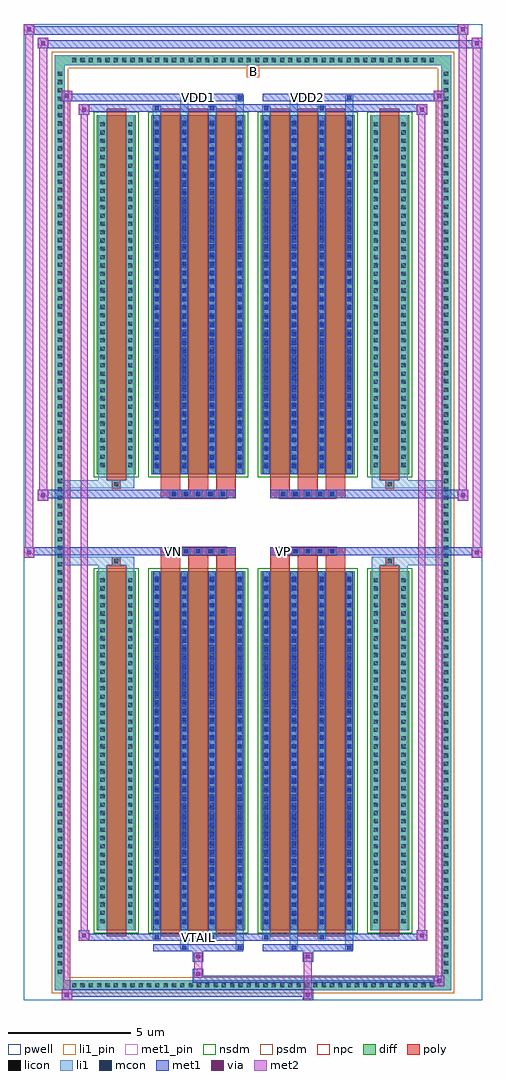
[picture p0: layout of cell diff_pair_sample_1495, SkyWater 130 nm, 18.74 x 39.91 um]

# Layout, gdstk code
import gdstk
lib = gdstk.Library(unit=1e-6, precision=5e-09)
def R(c, l, rs):  # rectangles x0, y0, x1, y1
    for r in rs: c.add(gdstk.rectangle(r[:2], r[2:], *l))
def A(c, l, x, y, w, h, nx, ny, dx, dy):  # array of equal rectangles
    R(c, l, [(x+i*dx, y+j*dy, x+i*dx+w, y+j*dy+h) for i in range(nx) for j in range(ny)])
def P(c, l, *ps):  # polygons
    for p in ps: c.add(gdstk.Polygon(p, *l))
pwell = (64, 44)
diff = (65, 20)
poly = (66, 20)
licon = (66, 44)
li1_pin = (67, 16)
li1 = (67, 20)
mcon = (67, 44)
met1_pin = (68, 16)
met1 = (68, 20)
via = (68, 44)
met2 = (69, 20)
nsdm = (93, 44)
psdm = (94, 20)
npc = (95, 20)

diff_pair_sample_1495 = lib.new_cell('diff_pair_sample_1495')
R(diff_pair_sample_1495, pwell, [(-9.37,-19.52,9.37,20.39), (-6.69,-17.71,-0.01,-0.805), (0.01,-17.71,6.69,-0.805), (-6.69,0.805,-0.01,17.71), (0.01,0.805,6.69,17.71)])
A(diff_pair_sample_1495, diff, -7.515, -19.12, 0.41, 0.41, 44, 2, 0.34, 37.83)
A(diff_pair_sample_1495, diff, -8.1, -18.565, 0.41, 0.41, 1, 109, 0, 0.34)
A(diff_pair_sample_1495, diff, 7.69, -18.565, 0.41, 0.41, 1, 109, 0, 0.34)
R(diff_pair_sample_1495, diff, [(-7.515,-19.12,7.515,-18.71), (-8.1,-18.565,-7.69,18.565), (7.69,-18.565,8.1,18.565), (-6.38,-16.665,-4.8,-1.985), (-4.16,-16.665,-0.32,-1.985), (0.32,-16.665,4.16,-1.985), (4.8,-16.665,6.38,-1.985), (-6.38,1.985,-4.8,16.665), (-4.16,1.985,-0.32,16.665), (0.32,1.985,4.16,16.665), (4.8,1.985,6.38,16.665), (-7.515,18.71,7.515,19.12)])
P(diff_pair_sample_1495, diff, [(8.1,19.12),(-8.1,19.12),(-8.1,-18.71),(-7.69,-18.71),(-7.69,18.71),(7.69,18.71),(7.69,-18.71),(-7.69,-18.71),(-8.1,-18.71),(-8.1,-19.12),(8.1,-19.12)])
A(diff_pair_sample_1495, poly, -3.77, -16.915, 0.8, 15.18, 3, 2, 1.13, 18.65)
A(diff_pair_sample_1495, poly, 0.71, -16.915, 0.8, 15.18, 3, 2, 1.13, 18.65)
A(diff_pair_sample_1495, poly, -3.77, -1.735, 0.8, 0.4, 3, 2, 1.13, 3.07)
A(diff_pair_sample_1495, poly, 0.71, -1.735, 0.8, 0.4, 3, 2, 1.13, 3.07)
A(diff_pair_sample_1495, poly, -3.405, -1.335, 0.33, 0.33, 5, 2, 0.5, 2.34)
A(diff_pair_sample_1495, poly, 1.075, -1.335, 0.33, 0.33, 5, 2, 0.5, 2.34)
R(diff_pair_sample_1495, poly, [(-5.99,-16.915,-5.19,-1.735), (5.19,-16.915,5.99,-1.735), (-5.755,-1.735,-5.425,-1.405), (-5.755,-1.735,-5.425,-1.405), (5.425,-1.735,5.755,-1.405), (5.425,-1.735,5.755,-1.405), (-3.77,-1.335,-0.71,-1.005), (0.71,-1.335,3.77,-1.005), (-3.77,1.005,-0.71,1.335), (0.71,1.005,3.77,1.335), (-5.755,1.405,-5.425,1.735), (-5.755,1.405,-5.425,1.735), (5.425,1.405,5.755,1.735), (5.425,1.405,5.755,1.735), (-5.99,1.735,-5.19,16.915), (5.19,1.735,5.99,16.915)])
A(diff_pair_sample_1495, licon, -7.395, -19, 0.17, 0.17, 44, 2, 0.34, 37.83)
A(diff_pair_sample_1495, licon, -7.98, -18.445, 0.17, 0.17, 1, 109, 0, 0.34)
A(diff_pair_sample_1495, licon, 7.81, -18.445, 0.17, 0.17, 1, 109, 0, 0.34)
A(diff_pair_sample_1495, licon, -6.24, -16.38, 0.17, 0.17, 1, 42, 0, 0.34)
A(diff_pair_sample_1495, licon, -5.11, -16.38, 0.17, 0.17, 1, 42, 0, 0.34)
A(diff_pair_sample_1495, licon, -4.02, -16.38, 0.17, 0.17, 4, 42, 1.13, 0.34)
A(diff_pair_sample_1495, licon, 0.46, -16.38, 0.17, 0.17, 4, 42, 1.13, 0.34)
A(diff_pair_sample_1495, licon, 4.94, -16.38, 0.17, 0.17, 1, 42, 0, 0.34)
A(diff_pair_sample_1495, licon, 6.07, -16.38, 0.17, 0.17, 1, 42, 0, 0.34)
A(diff_pair_sample_1495, licon, -3.325, -1.255, 0.17, 0.17, 5, 2, 0.5, 2.34)
A(diff_pair_sample_1495, licon, 1.155, -1.255, 0.17, 0.17, 5, 2, 0.5, 2.34)
A(diff_pair_sample_1495, licon, -6.24, 2.27, 0.17, 0.17, 1, 42, 0, 0.34)
A(diff_pair_sample_1495, licon, -5.11, 2.27, 0.17, 0.17, 1, 42, 0, 0.34)
A(diff_pair_sample_1495, licon, -4.02, 2.27, 0.17, 0.17, 4, 42, 1.13, 0.34)
A(diff_pair_sample_1495, licon, 0.46, 2.27, 0.17, 0.17, 4, 42, 1.13, 0.34)
A(diff_pair_sample_1495, licon, 4.94, 2.27, 0.17, 0.17, 1, 42, 0, 0.34)
A(diff_pair_sample_1495, licon, 6.07, 2.27, 0.17, 0.17, 1, 42, 0, 0.34)
R(diff_pair_sample_1495, licon, [(-5.675,-1.655,-5.505,-1.485), (5.505,-1.655,5.675,-1.485), (-5.675,1.485,-5.505,1.655), (5.505,1.485,5.675,1.655)])
R(diff_pair_sample_1495, li1_pin, [(-0.25,18.21,0.25,18.71)])
A(diff_pair_sample_1495, li1, -7.475, -19.08, 0.33, 0.33, 44, 2, 0.34, 37.83)
A(diff_pair_sample_1495, li1, -8.06, -18.525, 0.33, 0.33, 1, 109, 0, 0.34)
A(diff_pair_sample_1495, li1, 7.73, -18.525, 0.33, 0.33, 1, 109, 0, 0.34)
A(diff_pair_sample_1495, li1, -4.1, -16.665, 0.33, 14.68, 4, 2, 1.13, 18.65)
A(diff_pair_sample_1495, li1, 0.38, -16.665, 0.33, 14.68, 4, 2, 1.13, 18.65)
A(diff_pair_sample_1495, li1, -6.32, -16.46, 0.33, 0.33, 1, 42, 0, 0.34)
A(diff_pair_sample_1495, li1, -5.19, -16.46, 0.33, 0.33, 1, 42, 0, 0.34)
A(diff_pair_sample_1495, li1, -4.1, -16.46, 0.33, 0.33, 4, 42, 1.13, 0.34)
A(diff_pair_sample_1495, li1, 0.38, -16.46, 0.33, 0.33, 4, 42, 1.13, 0.34)
A(diff_pair_sample_1495, li1, 4.86, -16.46, 0.33, 0.33, 1, 42, 0, 0.34)
A(diff_pair_sample_1495, li1, 5.99, -16.46, 0.33, 0.33, 1, 42, 0, 0.34)
A(diff_pair_sample_1495, li1, -4.02, -16.43, 0.17, 0.17, 4, 40, 1.13, 0.36)
A(diff_pair_sample_1495, li1, -4.02, -16.43, 0.17, 14.21, 4, 2, 1.13, 18.65)
A(diff_pair_sample_1495, li1, 0.46, -16.43, 0.17, 0.17, 4, 40, 1.13, 0.36)
A(diff_pair_sample_1495, li1, 0.46, -16.43, 0.17, 14.21, 4, 2, 1.13, 18.65)
A(diff_pair_sample_1495, li1, -3.405, -1.335, 0.33, 0.33, 5, 2, 0.5, 2.34)
A(diff_pair_sample_1495, li1, 1.075, -1.335, 0.33, 0.33, 5, 2, 0.5, 2.34)
A(diff_pair_sample_1495, li1, -6.32, 2.19, 0.33, 0.33, 1, 42, 0, 0.34)
A(diff_pair_sample_1495, li1, -5.19, 2.19, 0.33, 0.33, 1, 42, 0, 0.34)
A(diff_pair_sample_1495, li1, -4.1, 2.19, 0.33, 0.33, 4, 42, 1.13, 0.34)
A(diff_pair_sample_1495, li1, 0.38, 2.19, 0.33, 0.33, 4, 42, 1.13, 0.34)
A(diff_pair_sample_1495, li1, 4.86, 2.19, 0.33, 0.33, 1, 42, 0, 0.34)
A(diff_pair_sample_1495, li1, 5.99, 2.19, 0.33, 0.33, 1, 42, 0, 0.34)
A(diff_pair_sample_1495, li1, -4.02, 2.22, 0.17, 0.17, 4, 40, 1.13, 0.36)
A(diff_pair_sample_1495, li1, 0.46, 2.22, 0.17, 0.17, 4, 40, 1.13, 0.36)
R(diff_pair_sample_1495, li1, [(-8.1,-19.12,-7.69,-18.71), (-8.1,-19.12,-7.69,-18.71), (-7.69,-19.12,7.69,-18.71), (7.69,-19.12,8.1,-18.71), (7.69,-19.12,8.1,-18.71), (-8.1,-18.71,-7.69,18.71), (7.69,-18.71,8.1,18.71), (-2.97,-17.47,-2.64,-16.665), (-2.89,-17.47,-2.72,-17.3), (-0.71,-17.47,-0.38,-16.665), (-0.63,-17.47,-0.46,-17.3), (1.51,-17.47,1.84,-16.665), (1.59,-17.47,1.76,-17.3), (3.77,-17.47,4.1,-16.665), (3.85,-17.47,4.02,-17.3), (-4.1,-17.04,-3.77,-16.665), (-4.02,-17.04,-3.85,-16.87), (-1.84,-17.04,-1.51,-16.665), (-1.76,-17.04,-1.59,-16.87), (0.38,-17.04,0.71,-16.665), (0.46,-17.04,0.63,-16.87), (2.64,-17.04,2.97,-16.665), (2.72,-17.04,2.89,-16.87), (-6.32,-16.665,-5.99,-1.985), (-5.19,-16.665,-4.86,-1.985), (4.86,-16.665,5.19,-1.985), (5.99,-16.665,6.32,-1.985), (-6.32,-1.985,-5.99,-1.405), (-5.19,-1.985,-4.86,-1.405), (4.86,-1.985,5.19,-1.405), (5.99,-1.985,6.32,-1.405), (-8.1,-1.735,-5.755,-1.405), (-6.32,-1.735,-5.755,-1.405), (-5.755,-1.735,-5.425,-1.405), (-5.425,-1.735,-4.86,-1.405), (4.86,-1.735,5.425,-1.405), (5.425,-1.735,5.755,-1.405), (5.425,-1.735,8.1,-1.405), (5.755,-1.735,6.32,-1.405), (-8.1,1.405,-5.755,1.735), (-6.32,1.405,-5.755,1.735), (-6.32,1.405,-5.99,1.985), (-5.755,1.405,-5.425,1.735), (-5.425,1.405,-4.86,1.735), (-5.19,1.405,-4.86,1.985), (4.86,1.405,5.425,1.735), (4.86,1.405,5.19,1.985), (5.425,1.405,5.755,1.735), (5.425,1.405,8.1,1.735), (5.755,1.405,6.32,1.735), (5.99,1.405,6.32,1.985), (-6.32,1.985,-5.99,16.665), (-5.19,1.985,-4.86,16.665), (4.86,1.985,5.19,16.665), (5.99,1.985,6.32,16.665), (-4.1,16.665,-3.77,17.04), (-2.97,16.665,-2.64,17.47), (-1.84,16.665,-1.51,17.04), (-0.71,16.665,-0.38,17.47), (0.38,16.665,0.71,17.04), (1.51,16.665,1.84,17.47), (2.64,16.665,2.97,17.04), (3.77,16.665,4.1,17.47), (-4.02,16.87,-3.85,17.04), (-1.76,16.87,-1.59,17.04), (0.46,16.87,0.63,17.04), (2.72,16.87,2.89,17.04), (-2.89,17.3,-2.72,17.47), (-0.63,17.3,-0.46,17.47), (1.59,17.3,1.76,17.47), (3.85,17.3,4.02,17.47), (-8.1,18.71,-7.69,19.12), (-8.1,18.71,-7.69,19.12), (-7.69,18.71,7.69,19.12), (7.69,18.71,8.1,19.12), (7.69,18.71,8.1,19.12)])
A(diff_pair_sample_1495, mcon, -4.02, -16.43, 0.17, 0.17, 4, 40, 1.13, 0.36)
A(diff_pair_sample_1495, mcon, 0.46, -16.43, 0.17, 0.17, 4, 40, 1.13, 0.36)
A(diff_pair_sample_1495, mcon, -3.325, -1.255, 0.17, 0.17, 5, 2, 0.5, 2.34)
A(diff_pair_sample_1495, mcon, 1.155, -1.255, 0.17, 0.17, 5, 2, 0.5, 2.34)
A(diff_pair_sample_1495, mcon, -4.02, 2.22, 0.17, 0.17, 4, 40, 1.13, 0.36)
A(diff_pair_sample_1495, mcon, 0.46, 2.22, 0.17, 0.17, 4, 40, 1.13, 0.36)
R(diff_pair_sample_1495, mcon, [(-2.89,-17.47,-2.72,-17.3), (-0.63,-17.47,-0.46,-17.3), (1.59,-17.47,1.76,-17.3), (3.85,-17.47,4.02,-17.3), (-4.02,-17.04,-3.85,-16.87), (-1.76,-17.04,-1.59,-16.87), (0.46,-17.04,0.63,-16.87), (2.72,-17.04,2.89,-16.87), (-4.02,16.87,-3.85,17.04), (-1.76,16.87,-1.59,17.04), (0.46,16.87,0.63,17.04), (2.72,16.87,2.89,17.04), (-2.89,17.3,-2.72,17.47), (-0.63,17.3,-0.46,17.47), (1.59,17.3,1.76,17.47), (3.85,17.3,4.02,17.47)])
R(diff_pair_sample_1495, met1_pin, [(-2.375,-17.08,-2.105,-16.81), (-3.375,-1.295,-3.105,-1.025), (1.105,-1.295,1.375,-1.025), (-2.375,17.26,-2.105,17.53), (2.105,17.26,2.375,17.53)])
A(diff_pair_sample_1495, met1, -4.08, -16.665, 0.29, 14.68, 4, 2, 1.13, 18.65)
A(diff_pair_sample_1495, met1, 0.4, -16.665, 0.29, 14.68, 4, 2, 1.13, 18.65)
A(diff_pair_sample_1495, met1, -4.08, -16.49, 0.29, 0.29, 4, 40, 1.13, 0.36)
A(diff_pair_sample_1495, met1, 0.4, -16.49, 0.29, 0.29, 4, 40, 1.13, 0.36)
A(diff_pair_sample_1495, met1, -3.385, -1.315, 0.29, 0.29, 5, 2, 0.5, 2.34)
A(diff_pair_sample_1495, met1, 1.095, -1.315, 0.29, 0.29, 5, 2, 0.5, 2.34)
A(diff_pair_sample_1495, met1, -4.08, 2.16, 0.29, 0.29, 4, 40, 1.13, 0.36)
A(diff_pair_sample_1495, met1, 0.4, 2.16, 0.29, 0.29, 4, 40, 1.13, 0.36)
R(diff_pair_sample_1495, met1, [(-7.83,-19.52,-7.4,-19.09), (2.025,-19.52,2.455,-19.09), (-7.83,-19.38,2.455,-19.09), (7.4,-18.95,7.83,-18.52), (-2.455,-18.81,7.83,-18.52), (-2.455,-18.67,-2.025,-18.24), (-2.455,-17.96,-2.025,-17.53), (2.025,-17.96,2.455,-17.53), (-4.08,-17.53,-0.4,-17.24), (-2.95,-17.53,-2.66,-17.24), (-0.69,-17.53,-0.4,-17.24), (0.4,-17.53,4.08,-17.24), (1.53,-17.53,1.82,-17.24), (3.79,-17.53,4.08,-17.24), (-7.12,-17.1,-6.69,-16.67), (-7.12,-17.1,-4.08,-16.81), (-4.08,-17.1,-3.79,-16.81), (-4.08,-17.1,-0.4,-16.81), (-1.82,-17.1,-1.53,-16.81), (-0.4,-17.1,0.4,-16.81), (0.4,-17.1,0.69,-16.81), (0.4,-17.1,4.08,-16.81), (2.66,-17.1,2.95,-16.81), (4.08,-17.1,7.12,-16.81), (6.69,-17.1,7.12,-16.67), (-9.37,-1.435,-8.94,-1.005), (8.94,-1.435,9.37,-1.005), (-9.37,-1.335,-0.71,-1.005), (-3.77,-1.335,-0.71,-1.005), (0.71,-1.335,3.77,-1.005), (0.71,-1.335,9.37,-1.005), (-8.8,0.905,-8.37,1.335), (8.37,0.905,8.8,1.335), (-8.8,1.005,-3.77,1.335), (-3.77,1.005,-0.71,1.335), (0.71,1.005,3.77,1.335), (3.77,1.005,8.8,1.335), (-7.12,16.67,-6.69,17.1), (6.69,16.67,7.12,17.1), (-7.12,16.81,-4.08,17.1), (-4.08,16.81,-3.79,17.1), (-4.08,16.81,-0.4,17.1), (-1.82,16.81,-1.53,17.1), (-0.4,16.81,0.4,17.1), (0.4,16.81,0.69,17.1), (0.4,16.81,4.08,17.1), (2.66,16.81,2.95,17.1), (4.08,16.81,7.12,17.1), (-7.83,17.24,-7.4,17.67), (-7.83,17.24,-4.08,17.53), (-4.08,17.24,-0.4,17.53), (-2.95,17.24,-2.66,17.53), (-0.69,17.24,-0.4,17.53), (0.4,17.24,4.08,17.53), (1.53,17.24,1.82,17.53), (3.79,17.24,4.08,17.53), (4.08,17.24,7.83,17.53), (7.4,17.24,7.83,17.67), (-8.8,19.39,-8.37,19.82), (-8.8,19.39,-6.69,19.72), (-6.69,19.39,6.69,19.72), (6.69,19.39,9.37,19.72), (8.94,19.39,9.37,19.82), (-9.37,19.96,-8.94,20.39), (-9.37,19.96,-6.69,20.29), (-6.69,19.96,6.69,20.29), (6.69,19.96,8.8,20.29), (8.37,19.96,8.8,20.39)])
R(diff_pair_sample_1495, via, [(-7.69,-19.38,-7.54,-19.23), (2.165,-19.38,2.315,-19.23), (7.54,-18.81,7.69,-18.66), (-2.315,-18.53,-2.165,-18.38), (-2.315,-17.82,-2.165,-17.67), (2.165,-17.82,2.315,-17.67), (-6.98,-16.96,-6.83,-16.81), (6.83,-16.96,6.98,-16.81), (-9.23,-1.295,-9.08,-1.145), (9.08,-1.295,9.23,-1.145), (-8.66,1.045,-8.51,1.195), (8.51,1.045,8.66,1.195), (-6.98,16.81,-6.83,16.96), (6.83,16.81,6.98,16.96), (-7.69,17.38,-7.54,17.53), (7.54,17.38,7.69,17.53), (-8.66,19.53,-8.51,19.68), (9.08,19.53,9.23,19.68), (-9.23,20.1,-9.08,20.25), (8.51,20.1,8.66,20.25)])
R(diff_pair_sample_1495, met2, [(-7.83,-19.52,-7.4,-19.09), (-7.76,-19.52,-7.47,17.67), (-7.47,-19.52,-7.4,-19.09), (-7.78,-19.47,-7.45,-19.14), (2.075,-19.47,2.405,-19.14), (2.075,-19.14,2.405,-17.91), (7.4,-18.95,7.83,-18.52), (7.47,-18.95,7.76,17.67), (7.76,-18.95,7.83,-18.52), (7.45,-18.9,7.78,-18.57), (-2.405,-18.62,-2.075,-18.29), (-2.405,-18.29,-2.075,-17.91), (-2.405,-17.91,-2.075,-17.58), (2.075,-17.91,2.405,-17.58), (-7.12,-17.1,-6.69,-16.67), (-7.05,-17.1,-6.76,17.1), (-6.76,-17.1,-6.69,-16.67), (6.69,-17.1,7.12,-16.67), (6.76,-17.1,7.05,17.1), (7.05,-17.1,7.12,-16.67), (-7.07,-17.05,-6.74,-16.72), (6.74,-17.05,7.07,-16.72), (-9.37,-1.435,-8.94,-1.005), (-9.32,-1.435,-8.99,20.39), (-8.99,-1.435,-8.94,-1.005), (8.94,-1.435,9.37,-1.005), (8.99,-1.435,9.32,19.82), (9.32,-1.435,9.37,-1.005), (-9.32,-1.385,-8.99,-1.055), (8.99,-1.385,9.32,-1.055), (-8.8,0.905,-8.37,1.335), (-8.75,0.905,-8.42,19.82), (-8.42,0.905,-8.37,1.335), (8.37,0.905,8.8,1.335), (8.42,0.905,8.75,20.39), (8.75,0.905,8.8,1.335), (-8.75,0.955,-8.42,1.285), (8.42,0.955,8.75,1.285), (-7.12,16.67,-6.69,17.1), (-6.76,16.67,-6.69,17.1), (6.69,16.67,7.12,17.1), (7.05,16.67,7.12,17.1), (-7.07,16.72,-6.74,17.05), (6.74,16.72,7.07,17.05), (-7.83,17.24,-7.4,17.67), (-7.47,17.24,-7.4,17.67), (7.4,17.24,7.83,17.67), (7.76,17.24,7.83,17.67), (-7.78,17.29,-7.45,17.62), (7.45,17.29,7.78,17.62), (-8.8,19.39,-8.37,19.82), (-8.42,19.39,-8.37,19.82), (8.94,19.39,9.37,19.82), (9.32,19.39,9.37,19.82), (-8.75,19.44,-8.42,19.77), (8.99,19.44,9.32,19.77), (-9.37,19.96,-8.94,20.39), (-8.99,19.96,-8.94,20.39), (8.37,19.96,8.8,20.39), (8.75,19.96,8.8,20.39), (-9.32,20.01,-8.99,20.34), (8.42,20.01,8.75,20.34)])
R(diff_pair_sample_1495, nsdm, [(-6.51,-16.795,-4.67,-1.855), (-4.29,-16.795,-0.19,-1.855), (0.19,-16.795,4.29,-1.855), (4.67,-16.795,6.51,-1.855), (-6.51,1.855,-4.67,16.795), (-4.29,1.855,-0.19,16.795), (0.19,1.855,4.29,16.795), (4.67,1.855,6.51,16.795)])
P(diff_pair_sample_1495, psdm, [(8.23,19.25),(-8.23,19.25),(-8.23,-18.58),(-7.56,-18.58),(-7.56,18.58),(7.56,18.58),(7.56,-18.58),(-7.56,-18.58),(-8.23,-18.58),(-8.23,-19.25),(8.23,-19.25)])
A(diff_pair_sample_1495, npc, -3.425, -1.355, 0.37, 0.37, 5, 2, 0.5, 2.34)
A(diff_pair_sample_1495, npc, 1.055, -1.355, 0.37, 0.37, 5, 2, 0.5, 2.34)
R(diff_pair_sample_1495, npc, [(-5.775,-1.755,-5.405,-1.385), (5.405,-1.755,5.775,-1.385), (-3.425,-1.355,-2.555,-0.985), (-3.425,-1.355,-2.555,-0.985), (-2.925,-1.355,-2.055,-0.985), (-2.925,-1.355,-2.055,-0.985), (-2.425,-1.355,-1.555,-0.985), (-2.425,-1.355,-1.555,-0.985), (-1.925,-1.355,-1.055,-0.985), (-1.925,-1.355,-1.055,-0.985), (1.055,-1.355,1.925,-0.985), (1.055,-1.355,1.925,-0.985), (1.555,-1.355,2.425,-0.985), (1.555,-1.355,2.425,-0.985), (2.055,-1.355,2.925,-0.985), (2.055,-1.355,2.925,-0.985), (2.555,-1.355,3.425,-0.985), (2.555,-1.355,3.425,-0.985), (-3.425,0.985,-2.555,1.355), (-3.425,0.985,-2.555,1.355), (-2.925,0.985,-2.055,1.355), (-2.925,0.985,-2.055,1.355), (-2.425,0.985,-1.555,1.355), (-2.425,0.985,-1.555,1.355), (-1.925,0.985,-1.055,1.355), (-1.925,0.985,-1.055,1.355), (1.055,0.985,1.925,1.355), (1.055,0.985,1.925,1.355), (1.555,0.985,2.425,1.355), (1.555,0.985,2.425,1.355), (2.055,0.985,2.925,1.355), (2.055,0.985,2.925,1.355), (2.555,0.985,3.425,1.355), (2.555,0.985,3.425,1.355), (-5.775,1.385,-5.405,1.755), (5.405,1.385,5.775,1.755)])
diff_pair_sample_1495.add(gdstk.Label('VTAIL', (-2.24,-16.945), layer=68, texttype=5))
diff_pair_sample_1495.add(gdstk.Label('VN', (-3.24,-1.16), layer=68, texttype=5))
diff_pair_sample_1495.add(gdstk.Label('VP', (1.24,-1.16), layer=68, texttype=5))
diff_pair_sample_1495.add(gdstk.Label('B', (0,18.46), layer=67, texttype=5))
diff_pair_sample_1495.add(gdstk.Label('VDD2', (2.24,17.395), layer=68, texttype=5))
diff_pair_sample_1495.add(gdstk.Label('VDD1', (-2.24,17.395), layer=68, texttype=5))

lib.write_gds('diff_pair_sample_1495.gds')
